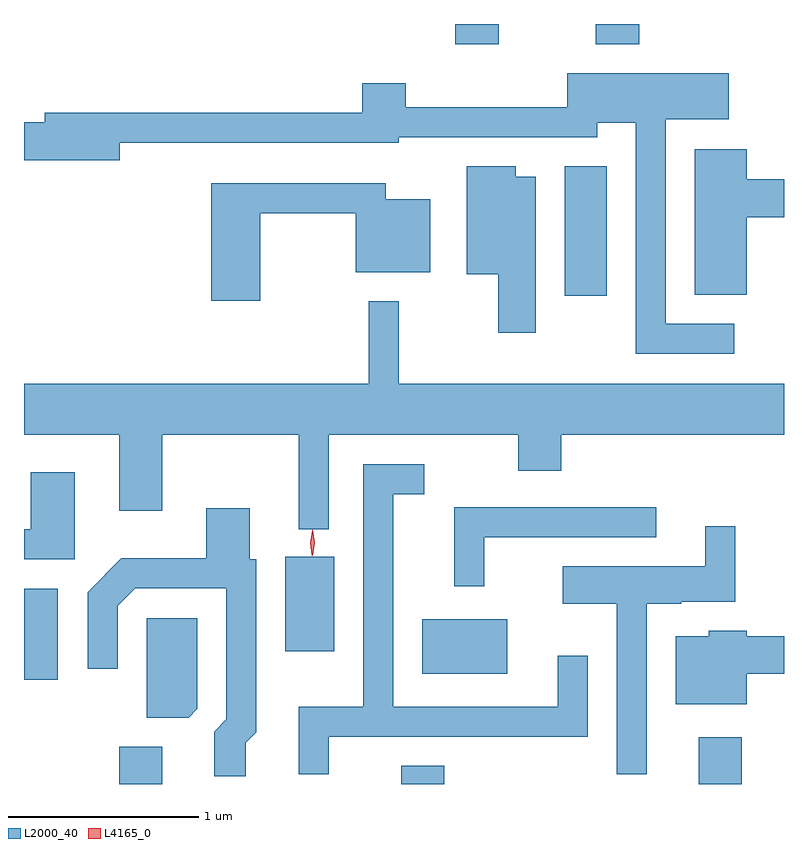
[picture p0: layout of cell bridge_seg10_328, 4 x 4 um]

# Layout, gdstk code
import gdstk
lib = gdstk.Library(unit=1e-6, precision=1e-09)
def R(c, l, rs):  # rectangles x0, y0, x1, y1
    for r in rs: c.add(gdstk.rectangle(r[:2], r[2:], *l))
def P(c, l, *ps):  # polygons
    for p in ps: c.add(gdstk.Polygon(p, *l))
L2000_40 = (2000, 40)
L4165_0 = (4165, 0)

bridge_seg10_328 = lib.new_cell('bridge_seg10_328')
R(bridge_seg10_328, L2000_40, [(1350.311,2160.917,1350.539,2161.114), (1351.796,2160.917,1352.024,2161.014), (1353.361,2160.917,1353.589,2161.164), (1349.811,2161.466,1349.989,2161.944), (1351.906,2161.496,1352.354,2161.784), (1351.186,2161.616,1351.444,2162.114), (1352.656,2163.486,1352.879,2164.169), (1352.081,2164.811,1352.309,2164.917), (1352.821,2164.811,1353.049,2164.917)])
P(bridge_seg10_328, L2000_40, [(1353.548,2163.339),(1353.189,2163.339),(1353.189,2164.416),(1353.519,2164.416),(1353.519,2164.659),(1352.671,2164.659),(1352.671,2164.479),(1351.819,2164.479),(1351.819,2164.604),(1351.591,2164.604),(1351.591,2164.449),(1349.921,2164.449),(1349.921,2164.399),(1349.811,2164.399),(1349.811,2164.201),(1350.314,2164.201),(1350.314,2164.291),(1351.784,2164.291),(1351.784,2164.321),(1352.829,2164.321),(1352.829,2164.396),(1353.031,2164.396),(1353.031,2163.181),(1353.548,2163.181)],
  [(1353.614,2163.901),(1353.811,2163.901),(1353.811,2164.099),(1353.614,2164.099),(1353.614,2164.259),(1353.341,2164.259),(1353.341,2163.491),(1353.614,2163.491)],
  [(1352.504,2164.114),(1352.399,2164.114),(1352.399,2164.169),(1352.141,2164.169),(1352.141,2163.601),(1352.306,2163.601),(1352.306,2163.291),(1352.504,2163.291)],
  [(1351.054,2163.921),(1351.556,2163.921),(1351.556,2163.611),(1351.949,2163.611),(1351.949,2163.994),(1351.714,2163.994),(1351.714,2164.079),(1350.796,2164.079),(1350.796,2163.461),(1351.054,2163.461)],
  [(1351.414,2162.756),(1352.411,2162.756),(1352.411,2162.566),(1352.639,2162.566),(1352.639,2162.756),(1353.811,2162.756),(1353.811,2163.024),(1351.784,2163.024),(1351.784,2163.458),(1351.626,2163.458),(1351.626,2163.024),(1349.811,2163.024),(1349.811,2162.756),(1350.311,2162.756),(1350.311,2162.356),(1350.539,2162.356),(1350.539,2162.756),(1351.256,2162.756),(1351.256,2162.258),(1351.414,2162.258)],
  [(1351.414,2161.166),(1352.779,2161.166),(1352.779,2161.593),(1352.621,2161.593),(1352.621,2161.324),(1351.754,2161.324),(1351.754,2162.441),(1351.918,2162.441),(1351.918,2162.599),(1351.596,2162.599),(1351.596,2161.324),(1351.256,2161.324),(1351.256,2160.968),(1351.414,2160.968)],
  [(1350.079,2162.559),(1349.846,2162.559),(1349.846,2162.259),(1349.811,2162.259),(1349.811,2162.101),(1350.079,2162.101)],
  [(1352.234,2162.216),(1353.138,2162.216),(1353.138,2162.374),(1352.076,2162.374),(1352.076,2161.958),(1352.234,2161.958)],
  [(1350.979,2161.134),(1351.034,2161.189),(1351.034,2162.099),(1350.999,2162.099),(1350.999,2162.369),(1350.771,2162.369),(1350.771,2162.104),(1350.324,2162.104),(1350.146,2161.927),(1350.146,2161.523),(1350.304,2161.523),(1350.304,2161.854),(1350.397,2161.946),(1350.876,2161.946),(1350.876,2161.257),(1350.811,2161.192),(1350.811,2160.958),(1350.979,2160.958)],
  [(1353.089,2161.866),(1353.27,2161.866),(1353.27,2161.876),(1353.554,2161.876),(1353.554,2162.273),(1353.396,2162.273),(1353.396,2162.064),(1352.646,2162.064),(1352.646,2161.866),(1352.931,2161.866),(1352.931,2160.968),(1353.089,2160.968)],
  [(1350.724,2161.312),(1350.724,2161.789),(1350.456,2161.789),(1350.456,2161.266),(1350.679,2161.266)],
  [(1353.614,2161.496),(1353.811,2161.496),(1353.811,2161.694),(1353.614,2161.694),(1353.614,2161.724),(1353.416,2161.724),(1353.416,2161.694),(1353.241,2161.694),(1353.241,2161.336),(1353.614,2161.336)])
P(bridge_seg10_328, L4165_0, [(1351.331,2162.118),(1351.322,2162.186),(1351.331,2162.255),(1351.332,2162.255),(1351.332,2162.255),(1351.342,2162.186),(1351.332,2162.118),(1351.332,2162.118)],
  [(1351.326,2162.121),(1351.326,2162.121),(1351.318,2162.186),(1351.329,2162.251),(1351.329,2162.252),(1351.33,2162.251),(1351.338,2162.186),(1351.327,2162.121)])

lib.write_gds('bridge_seg10_328.gds')
